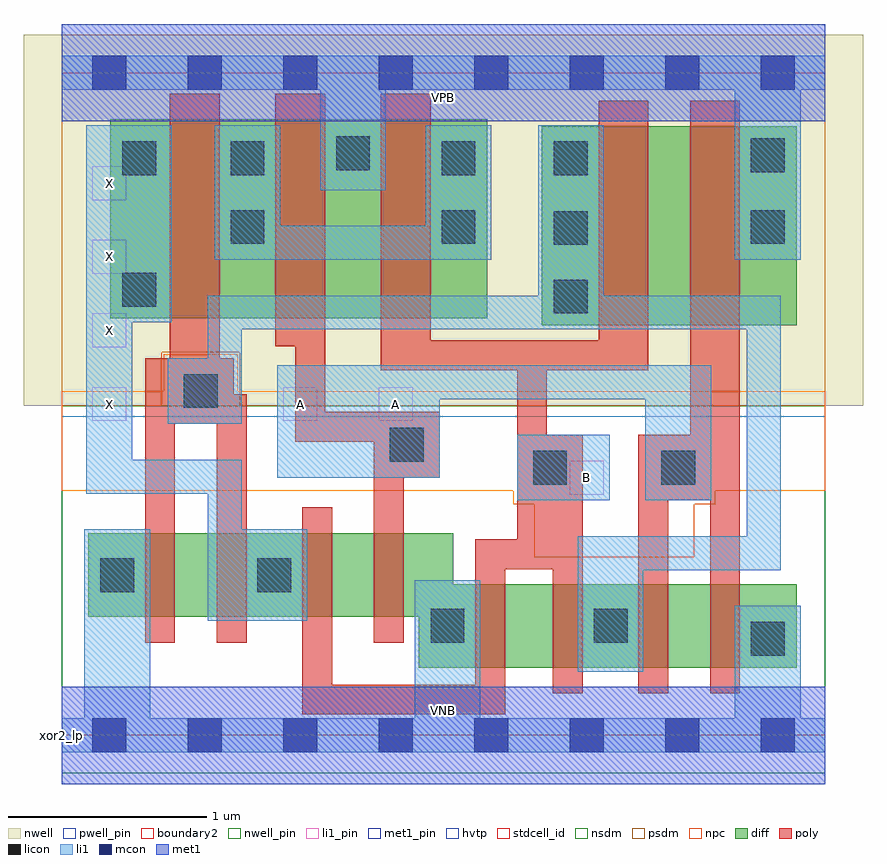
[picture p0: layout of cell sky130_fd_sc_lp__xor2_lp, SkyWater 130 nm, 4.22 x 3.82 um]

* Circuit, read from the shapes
.subckt sky130_fd_sc_lp__xor2_lp A B VGND VNB VPB VPWR X
XM1 n1 n2 VGND VNB sky130_fd_pr__nfet_01v8 w=0.42 l=0.15
XM2 X n2 n1 VNB sky130_fd_pr__nfet_01v8 w=0.42 l=0.15
XM3 n3 B X VNB sky130_fd_pr__nfet_01v8 w=0.42 l=0.15
XM4 VGND A n3 VNB sky130_fd_pr__nfet_01v8 w=0.42 l=0.15
XM5 n4 B VGND VNB sky130_fd_pr__nfet_01v8 w=0.42 l=0.15
XM6 n2 B n4 VNB sky130_fd_pr__nfet_01v8 w=0.42 l=0.15
XM7 n5 A n2 VNB sky130_fd_pr__nfet_01v8 w=0.42 l=0.15
XM8 VGND A n5 VNB sky130_fd_pr__nfet_01v8 w=0.42 l=0.15
XM9 n6 n2 X VPB sky130_fd_pr__pfet_01v8_hvt w=1 l=0.25
XM10 VPWR A n6 VPB sky130_fd_pr__pfet_01v8_hvt w=1 l=0.25
XM11 n6 B VPWR VPB sky130_fd_pr__pfet_01v8_hvt w=1 l=0.25
XM12 n7 B n2 VPB sky130_fd_pr__pfet_01v8_hvt w=1 l=0.25
XM13 VPWR A n7 VPB sky130_fd_pr__pfet_01v8_hvt w=1 l=0.25
.ends

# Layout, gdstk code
import gdstk
lib = gdstk.Library(unit=1e-6, precision=1e-09)
def R(c, l, rs):  # rectangles x0, y0, x1, y1
    for r in rs: c.add(gdstk.rectangle(r[:2], r[2:], *l))
def A(c, l, x, y, w, h, nx, ny, dx, dy):  # array of equal rectangles
    R(c, l, [(x+i*dx, y+j*dy, x+i*dx+w, y+j*dy+h) for i in range(nx) for j in range(ny)])
def P(c, l, *ps):  # polygons
    for p in ps: c.add(gdstk.Polygon(p, *l))
nwell_pin = (64, 16)
nwell = (64, 20)
diff = (65, 20)
poly = (66, 20)
licon = (66, 44)
li1_pin = (67, 16)
li1 = (67, 20)
mcon = (67, 44)
met1_pin = (68, 16)
met1 = (68, 20)
hvtp = (78, 44)
stdcell_id = (81, 4)
nsdm = (93, 44)
psdm = (94, 20)
npc = (95, 20)
pwell_pin = (122, 16)
boundary2 = (236, 0)

sky130_fd_sc_lp__xor2_lp = lib.new_cell('sky130_fd_sc_lp__xor2_lp')
R(sky130_fd_sc_lp__xor2_lp, nwell_pin, [(0,3.085,3.84,3.33)])
R(sky130_fd_sc_lp__xor2_lp, nwell, [(-0.19,1.655,4.03,3.52)])
R(sky130_fd_sc_lp__xor2_lp, diff, [(2.415,2.06,3.695,3.06), (0.245,2.095,2.14,3.095)])
P(sky130_fd_sc_lp__xor2_lp, diff, [(3.695,0.76),(1.97,0.76),(1.97,1.015),(0.135,1.015),(0.135,0.595),(1.795,0.595),(1.795,0.34),(3.695,0.34)])
P(sky130_fd_sc_lp__xor2_lp, poly, [(0.93,1.715),(0.865,1.715),(0.865,1.895),(0.795,1.895),(0.795,3.225),(0.545,3.225),(0.545,1.895),(0.42,1.895),(0.42,0.465),(0.57,0.465),(0.57,1.565),(0.78,1.565),(0.78,0.465),(0.93,0.465)],
  [(1.9,1.625),(1.325,1.625),(1.325,3.225),(1.075,3.225),(1.075,1.955),(1.175,1.955),(1.175,1.475),(1.57,1.475),(1.57,0.465),(1.72,0.465),(1.72,1.295),(1.9,1.295)],
  [(2.95,3.19),(2.7,3.19),(2.7,1.985),(1.855,1.985),(1.855,3.225),(1.605,3.225),(1.605,1.835),(2.29,1.835),(2.29,0.985),(2.08,0.985),(2.08,0.255),(1.36,0.255),(1.36,1.145),(1.21,1.145),(1.21,0.105),(2.23,0.105),(2.23,0.835),(2.47,0.835),(2.47,0.21),(2.62,0.21),(2.62,1.51),(2.44,1.51),(2.44,1.835),(2.95,1.835)],
  [(3.41,3.19),(3.16,3.19),(3.16,1.51),(2.9,1.51),(2.9,0.21),(3.05,0.21),(3.05,1.18),(3.26,1.18),(3.26,0.21),(3.41,0.21)])
R(sky130_fd_sc_lp__xor2_lp, licon, [(3.465,0.4,3.635,0.57), (1.855,0.465,2.025,0.635), (2.675,0.465,2.845,0.635), (0.195,0.72,0.365,0.89), (0.985,0.72,1.155,0.89), (2.37,1.26,2.54,1.43), (3.015,1.26,3.185,1.43), (1.65,1.375,1.82,1.545), (0.615,1.645,0.785,1.815), (2.475,2.12,2.645,2.29), (0.305,2.155,0.475,2.325), (2.475,2.465,2.645,2.635), (0.85,2.47,1.02,2.64), (1.91,2.47,2.08,2.64), (3.465,2.47,3.635,2.64), (0.305,2.815,0.475,2.985), (0.85,2.815,1.02,2.985), (1.91,2.815,2.08,2.985), (2.475,2.815,2.645,2.985), (3.465,2.83,3.635,3), (1.38,2.84,1.55,3.01)])
A(sky130_fd_sc_lp__xor2_lp, li1_pin, 0.155, 1.58, 0.17, 0.17, 1, 4, 0, 0.37)
R(sky130_fd_sc_lp__xor2_lp, li1_pin, [(2.555,1.21,2.725,1.38), (1.115,1.58,1.285,1.75), (1.595,1.58,1.765,1.75)])
R(sky130_fd_sc_lp__xor2_lp, li1, [(2.29,1.18,2.755,1.51)])
P(sky130_fd_sc_lp__xor2_lp, li1, [(3.385,2.39),(3.385,3.245),(1.63,3.245),(1.63,2.74),(1.3,2.74),(1.3,3.245),(0,3.245),(0,3.415),(3.84,3.415),(3.84,3.245),(3.715,3.245),(3.715,2.39)],
  [(1.775,0.085),(1.775,0.78),(2.105,0.78),(2.105,0.085),(3.385,0.085),(3.385,0.65),(3.715,0.65),(3.715,0.085),(3.84,0.085),(3.84,-0.085),(0,-0.085),(0,0.085),(0.115,0.085),(0.115,1.035),(0.445,1.035),(0.445,0.085)],
  [(0.735,0.575),(0.735,1.215),(0.125,1.215),(0.125,3.065),(0.555,3.065),(0.555,2.075),(0.355,2.075),(0.355,1.385),(0.905,1.385),(0.905,1.035),(1.235,1.035),(1.235,0.575)],
  [(0.735,2.21),(2.395,2.21),(2.395,3.065),(2.725,3.065),(2.725,2.21),(3.615,2.21),(3.615,0.83),(2.925,0.83),(2.925,0.32),(2.595,0.32),(2.595,1),(3.445,1),(3.445,2.04),(0.905,2.04),(0.905,1.565),(0.535,1.565),(0.535,1.895),(0.735,1.895)],
  [(1.085,1.295),(1.085,1.86),(3.265,1.86),(3.265,1.18),(2.935,1.18),(2.935,1.69),(1.9,1.69),(1.9,1.295)],
  [(1.83,2.56),(1.83,3.065),(2.16,3.065),(2.16,2.39),(0.77,2.39),(0.77,3.065),(1.1,3.065),(1.1,2.56)])
A(sky130_fd_sc_lp__xor2_lp, mcon, 0.155, -0.085, 0.17, 0.17, 8, 2, 0.48, 3.33)
R(sky130_fd_sc_lp__xor2_lp, met1_pin, [(0,0,3.84,0.245), (0,3.085,3.84,3.33)])
R(sky130_fd_sc_lp__xor2_lp, met1, [(0,-0.245,3.84,0.245), (0,3.085,3.84,3.575)])
R(sky130_fd_sc_lp__xor2_lp, hvtp, [(0,1.6,3.84,3.33)])
R(sky130_fd_sc_lp__xor2_lp, stdcell_id, [(0,0,3.84,3.33)])
R(sky130_fd_sc_lp__xor2_lp, nsdm, [(0,-0.19,3.84,1.655)])
P(sky130_fd_sc_lp__xor2_lp, psdm, [(3.84,3.52),(0,3.52),(0,1.655),(0.505,1.655),(0.505,1.925),(0.895,1.925),(0.895,1.655),(3.84,1.655)])
P(sky130_fd_sc_lp__xor2_lp, npc, [(3.84,1.73),(0.885,1.73),(0.885,1.915),(0.515,1.915),(0.515,1.73),(0,1.73),(0,1.23),(2.27,1.23),(2.27,1.16),(2.375,1.16),(2.375,0.895),(3.18,0.895),(3.18,1.16),(3.285,1.16),(3.285,1.23),(3.84,1.23)])
R(sky130_fd_sc_lp__xor2_lp, pwell_pin, [(0,0,3.84,0.245)])
R(sky130_fd_sc_lp__xor2_lp, boundary2, [(0,0,3.84,3.33)])
sky130_fd_sc_lp__xor2_lp.add(gdstk.Label('VNB', (1.92,0.123), layer=64, texttype=59))
sky130_fd_sc_lp__xor2_lp.add(gdstk.Label('VPB', (1.92,3.208), layer=64, texttype=5))
sky130_fd_sc_lp__xor2_lp.add(gdstk.Label('xor2_lp', (0,0), layer=83, texttype=44))
sky130_fd_sc_lp__xor2_lp.add(gdstk.Label('VPWR', (1.92,3.208), layer=68, texttype=5))
sky130_fd_sc_lp__xor2_lp.add(gdstk.Label('VGND', (1.92,0.123), layer=68, texttype=5))
sky130_fd_sc_lp__xor2_lp.add(gdstk.Label('B', (2.64,1.295), layer=67, texttype=5))
sky130_fd_sc_lp__xor2_lp.add(gdstk.Label('A', (1.2,1.665), layer=67, texttype=5))
sky130_fd_sc_lp__xor2_lp.add(gdstk.Label('A', (1.68,1.665), layer=67, texttype=5))
sky130_fd_sc_lp__xor2_lp.add(gdstk.Label('X', (0.24,1.665), layer=67, texttype=5))
sky130_fd_sc_lp__xor2_lp.add(gdstk.Label('X', (0.24,2.035), layer=67, texttype=5))
sky130_fd_sc_lp__xor2_lp.add(gdstk.Label('X', (0.24,2.405), layer=67, texttype=5))
sky130_fd_sc_lp__xor2_lp.add(gdstk.Label('X', (0.24,2.775), layer=67, texttype=5))

lib.write_gds('sky130_fd_sc_lp__xor2_lp.gds')
